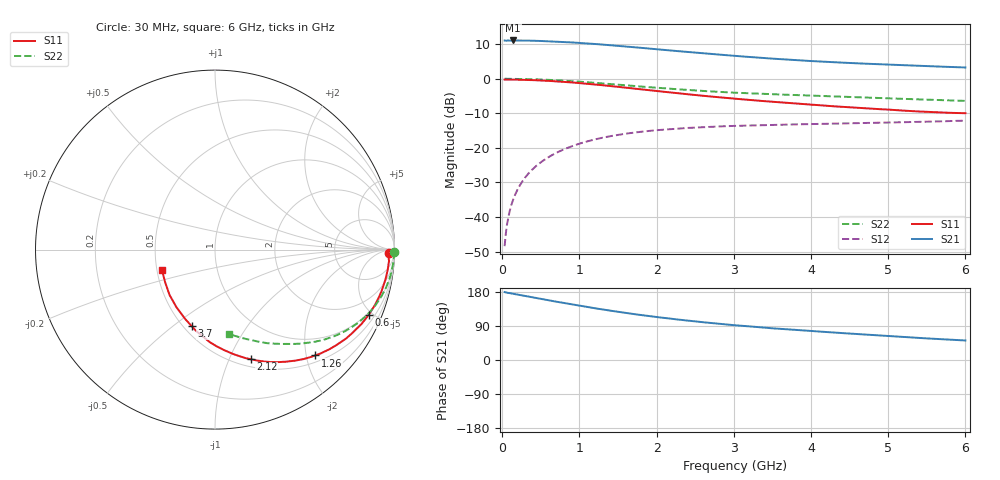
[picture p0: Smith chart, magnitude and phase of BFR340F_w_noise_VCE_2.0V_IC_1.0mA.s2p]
! Infineon Technologies  Discrete & RF Semiconductors
! BFR340F
! VCE =  2.0 V,  IC =  1.0 mA
! Common Emitter S-Parameters:  Nov 2015
# GHz  S  MA  R  50
!  f  S11  S21  S12  S22
! GHz  MAG  ANG  MAG  ANG  MAG  ANG  MAG  ANG
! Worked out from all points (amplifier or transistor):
!   206 points, 30 MHz to 6 GHz, reference 50 ohm
!   highest |S21| = 11.0 dB at 140 MHz (marker M1)
!   |S21| within 3 dB of that: start of sweep to 2.232 GHz
!   unconditionally stable (mu >= 1): 5.72 GHz to end of sweep
!   at 200 MHz: K = 0.04, MSG = 21.5 dB, |S12| = -31.9 dB
!   at 1.56 GHz: K = 0.36, MSG = 12.7 dB, |S12| = -16.0 dB
!   at 6 GHz: K = 1.02, MAG = 6.9 dB, |S12| = -12.1 dB
!   lowest NFmin = 0.63 dB at 450 MHz
!   S11 on the Smith chart (normalised r, x): 30 MHz: 45, -32; 600 MHz: 0.88, -4.74; 1.26 GHz: 0.63, -2.17; 2.12 GHz: 0.58, -1.20; 3.7 GHz: 0.55, -0.58; 6 GHz: 0.53, -0.13
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0.03  0.9712 -1.2  3.562 179.2  0.0038 88.5  0.998 -0.8
0.055  0.9702 -2.1  3.534 177.6  0.007 88.8  0.9978 -1.5
0.08  0.9694 -3.2  3.55 177.1  0.0102 87.7  0.9979 -2.2
0.14  0.9696 -5.4  3.565 174.9  0.0178 86.3  0.9964 -3.8
0.22  0.966 -8.7  3.562 171.8  0.0278 84.3  0.993 -6.1
0.32  0.9591 -12.4  3.547 168.1  0.0403 81.7  0.9875 -8.7
0.45  0.9475 -17.4  3.515 163.2  0.0561 78.5  0.9774 -12.2
0.6  0.9299 -23.1  3.471 157.6  0.0736 74.7  0.9616 -16.0
0.8  0.8989 -30.5  3.385 150.3  0.0954 69.9  0.9354 -21.1
1.04  0.8556 -39.1  3.264 141.9  0.1187 64.5  0.8977 -26.7
1.26  0.812 -46.6  3.134 134.7  0.1373 60.0  0.8604 -31.5
1.6  0.7404 -57.5  2.92 124.1  0.1604 53.8  0.8016 -38.0
2.02  0.6604 -69.3  2.65 112.9  0.1807 48.0  0.737 -44.7
2.12  0.6421 -72.0  2.588 110.5  0.1845 46.8  0.723 -46.1
2.58  0.5685 -83.8  2.338 100.1  0.1989 42.4  0.6665 -52.1
2.82  0.5371 -89.3  2.222 95.3  0.2044 40.6  0.6433 -54.8
3.1  0.504 -95.2  2.1 90.4  0.209 39.0  0.6213 -57.5
3.5  0.4638 -103.4  1.947 83.6  0.2149 37.4  0.5959 -61.0
3.7  0.4451 -107.1  1.884 80.9  0.2173 37.0  0.5855 -62.3
4.1  0.4129 -115.2  1.773 75.2  0.222 36.4  0.5649 -65.0
5.1  0.3511 -137.4  1.58 62.0  0.2338 36.4  0.515 -73.0
6  0.3168 -159.1  1.451 51.5  0.2477 38.4  0.4773 -80.8
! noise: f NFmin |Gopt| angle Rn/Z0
0.45  0.63  0.86  4  0.63
0.9  0.69  0.79  13  0.66
1.9  1.1  0.64  26  0.57
2.4  1.18  0.61  34  0.54
